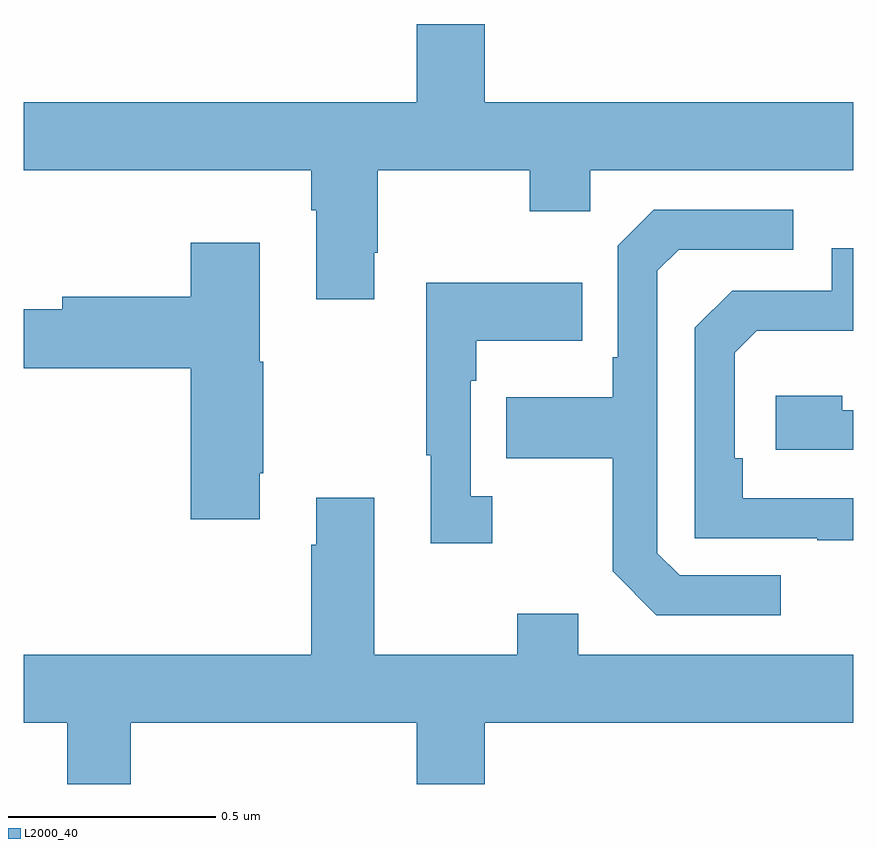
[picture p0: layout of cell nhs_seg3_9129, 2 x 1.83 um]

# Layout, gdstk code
import gdstk
lib = gdstk.Library(unit=1e-6, precision=1e-09)
def P(c, l, *ps):  # polygons
    for p in ps: c.add(gdstk.Polygon(p, *l))
L2000_40 = (2000, 40)

nhs_seg3_9129 = lib.new_cell('nhs_seg3_9129')
P(nhs_seg3_9129, L2000_40, [(224.845,736.681),(224.853,736.681),(224.853,736.88),(225.22,736.88),(225.22,736.781),(225.366,736.781),(225.366,736.88),(226,736.88),(226,737.044),(225.112,737.044),(225.112,737.233),(224.948,737.233),(224.948,737.044),(224,737.044),(224,736.88),(224.693,736.88),(224.693,736.784),(224.705,736.784),(224.705,736.569),(224.845,736.569)],
  [(225.826,735.903),(225.582,735.903),(225.528,735.957),(225.528,736.638),(225.579,736.689),(225.856,736.689),(225.856,736.785),(225.519,736.785),(225.432,736.698),(225.432,736.429),(225.42,736.429),(225.42,736.333),(225.163,736.333),(225.163,736.186),(225.42,736.186),(225.42,735.913),(225.525,735.807),(225.826,735.807)],
  [(224.569,736.15),(224.577,736.15),(224.577,736.419),(224.569,736.419),(224.569,736.705),(224.402,736.705),(224.402,736.575),(224.093,736.575),(224.093,736.545),(224,736.545),(224,736.403),(224.402,736.403),(224.402,736.038),(224.569,736.038)],
  [(226,736.089),(225.734,736.089),(225.734,736.186),(225.714,736.186),(225.714,736.44),(225.767,736.493),(226,736.493),(226,736.692),(225.948,736.692),(225.948,736.59),(225.708,736.59),(225.618,736.5),(225.618,735.993),(225.913,735.993),(225.913,735.988),(226,735.988)],
  [(225.13,736.094),(225.078,736.094),(225.078,736.373),(225.091,736.373),(225.091,736.469),(225.347,736.469),(225.347,736.609),(224.97,736.609),(224.97,736.193),(224.981,736.193),(224.981,735.981),(225.13,735.981)],
  [(226,736.302),(225.974,736.302),(225.974,736.336),(225.813,736.336),(225.813,736.206),(226,736.206)],
  [(224.258,735.548),(224.948,735.548),(224.948,735.4),(225.112,735.4),(225.112,735.548),(226,735.548),(226,735.712),(225.337,735.712),(225.337,735.811),(225.19,735.811),(225.19,735.712),(224.845,735.712),(224.845,736.09),(224.705,736.09),(224.705,735.977),(224.693,735.977),(224.693,735.712),(224,735.712),(224,735.548),(224.105,735.548),(224.105,735.4),(224.258,735.4)])

lib.write_gds('nhs_seg3_9129.gds')
